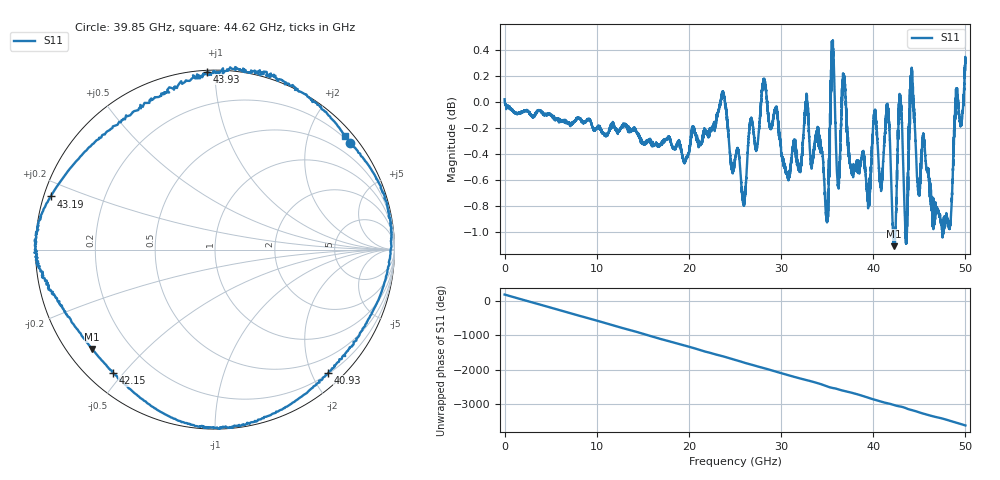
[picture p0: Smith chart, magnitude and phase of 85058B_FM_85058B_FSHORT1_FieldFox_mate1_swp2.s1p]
!Created with skrf (http://scikit-rf.org).
# Hz S RI R 50.0
!freq ReS11 ImS11
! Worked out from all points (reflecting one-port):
!   10000 points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, 5.3 MHz to 50 GHz, reference 50 ohm
!   lowest |S11| = -1.1 dB at 42.28 GHz (marker M1), VSWR 15.67, Z = 3.59 - j17.6 ohm
!   phase of S11 starts at 180 deg and turns -3791 deg over the sweep
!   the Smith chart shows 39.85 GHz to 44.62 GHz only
!   S11 on the Smith chart (normalised r, x): 39.85 GHz: 0.19, +2.88; 40.93 GHz: 0.21, -2.26; 42.15 GHz: 0.07, -0.47; 43.19 GHz: 0.02, +0.16; 43.93 GHz: 0.01, +0.95; 44.62 GHz: 0.16, +2.67
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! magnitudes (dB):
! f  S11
! 5.3 MHz  0.0
! 6.255 GHz  -0.1
! 12.51 GHz  -0.2
! 18.76 GHz  -0.3
! 23.68 GHz  0.1
! 25.01 GHz  -0.4
! 25.98 GHz  -0.8
! 28.15 GHz  0.2
! 31.26 GHz  -0.4
! 32.76 GHz  0.0
! 34.95 GHz  -0.9
! 35.6 GHz  0.4
! 36.16 GHz  -0.6
! 36.81 GHz  0.2
! 37.51 GHz  -0.5
! 39.85 GHz  -0.4
! 40.93 GHz  -0.6
! 41.59 GHz  -0.1
! 42.15 GHz  -1.0
! 42.28 GHz  -1.1
! 42.85 GHz  0.0
! 43.19 GHz  -0.3
! 43.76 GHz  -0.7
! 43.93 GHz  -0.1
! 44.62 GHz  -0.3
! 48.21 GHz  -0.9
! 48.98 GHz  0.1
! 50 GHz  0.3
